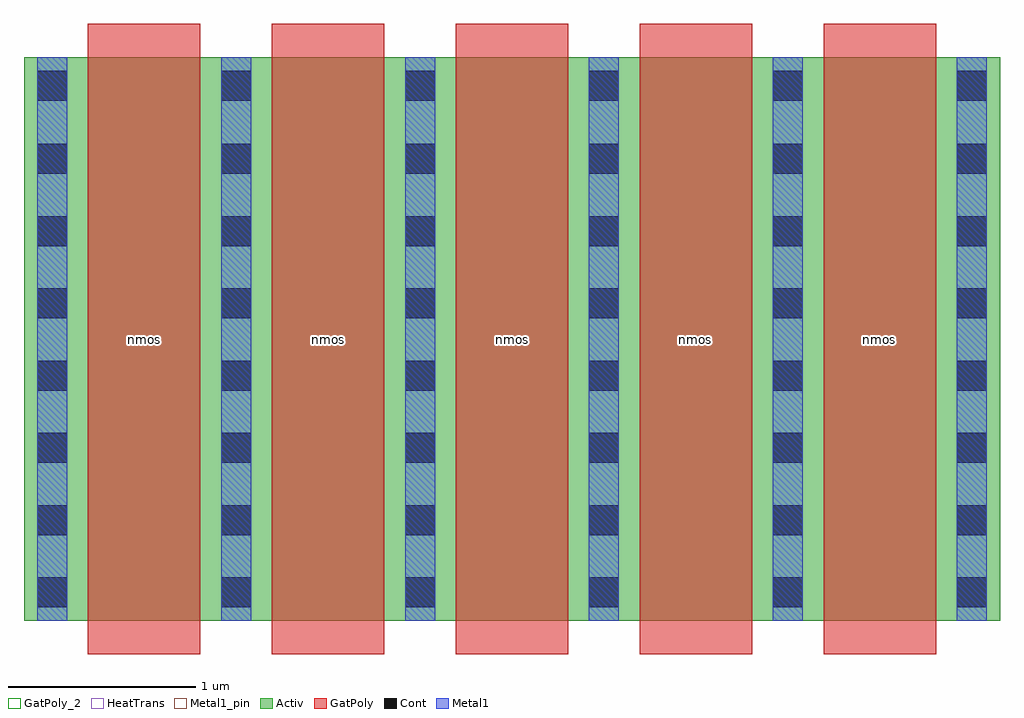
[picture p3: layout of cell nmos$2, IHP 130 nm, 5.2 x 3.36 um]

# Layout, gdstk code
import gdstk
lib = gdstk.Library(unit=1e-6, precision=5e-09)
def R(c, l, rs):  # rectangles x0, y0, x1, y1
    for r in rs: c.add(gdstk.rectangle(r[:2], r[2:], *l))
def A(c, l, x, y, w, h, nx, ny, dx, dy):  # array of equal rectangles
    R(c, l, [(x+i*dx, y+j*dy, x+i*dx+w, y+j*dy+h) for i in range(nx) for j in range(ny)])
Activ = (1, 0)
GatPoly = (5, 0)
GatPoly_2 = (5, 2)
Cont = (6, 0)
Metal1 = (8, 0)
Metal1_pin = (8, 2)
HeatTrans = (51, 0)

nmos_2 = lib.new_cell('nmos$2')
A(nmos_2, Activ, 0, 0, 0.3, 0.3, 6, 1, 0.98, 0)
R(nmos_2, Activ, [(0,0,5.2,3)])
A(nmos_2, GatPoly, 0.34, -0.18, 0.6, 3.36, 5, 1, 0.98, 0)
R(nmos_2, GatPoly_2, [(0.34,-0.18,0.94,3.18)])
A(nmos_2, Cont, 0.07, 0.07, 0.16, 0.16, 6, 7, 0.98, 0.385)
A(nmos_2, Cont, 0.07, 2.77, 0.16, 0.16, 6, 1, 0.98, 0)
A(nmos_2, Metal1, 0.07, 0, 0.16, 3, 6, 1, 0.98, 0)
R(nmos_2, Metal1_pin, [(0.07,0,0.23,3), (1.05,0,1.21,3)])
A(nmos_2, HeatTrans, 0.34, -0.18, 0.6, 3.36, 5, 1, 0.98, 0)
nmos_2.add(gdstk.Label('nmos', (0.64,1.5), layer=63, texttype=0))
nmos_2.add(gdstk.Label('nmos', (0.64,1.5), layer=51, texttype=0))
nmos_2.add(gdstk.Label('nmos', (1.62,1.5), layer=51, texttype=0))
nmos_2.add(gdstk.Label('nmos', (2.6,1.5), layer=51, texttype=0))
nmos_2.add(gdstk.Label('nmos', (3.58,1.5), layer=51, texttype=0))
nmos_2.add(gdstk.Label('nmos', (4.56,1.5), layer=51, texttype=0))

lib.write_gds('nmos_2.gds')
